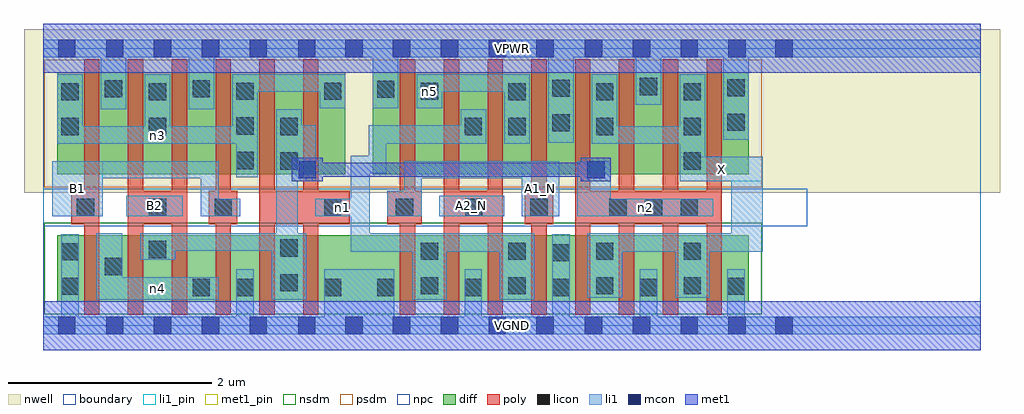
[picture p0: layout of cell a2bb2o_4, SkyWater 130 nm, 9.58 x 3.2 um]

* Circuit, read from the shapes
.subckt a2bb2o_4 A1_N A2_N B1 B2 VGND VPWR X n1 n2 n3 n4 n5
XM1 n4 B1 VGND VSUBS sky130_fd_pr__nfet_01v8 w=0.65 l=0.15 m=2
XM2 n2 B2 n4 VSUBS sky130_fd_pr__nfet_01v8 w=0.65 l=0.15 m=2
XM3 n2 n1 VGND VSUBS sky130_fd_pr__nfet_01v8 w=0.65 l=0.15 m=2
XM4 n1 A1_N VGND VSUBS sky130_fd_pr__nfet_01v8 w=0.65 l=0.15 m=2
XM5 VGND A2_N n1 VSUBS sky130_fd_pr__nfet_01v8 w=0.65 l=0.15 m=2
XM6 X n2 VGND VSUBS sky130_fd_pr__nfet_01v8 w=0.65 l=0.15 m=4
XM7 VPWR B1 n3 n6 sky130_fd_pr__pfet_01v8 w=1 l=0.15 m=2
XM8 n3 B2 VPWR n6 sky130_fd_pr__pfet_01v8 w=1 l=0.15 m=2
XM9 n2 n1 n3 n6 sky130_fd_pr__pfet_01v8 w=1 l=0.15 m=2
XM10 n5 A1_N VPWR n6 sky130_fd_pr__pfet_01v8 w=1 l=0.15 m=2
XM11 n1 A2_N n5 n6 sky130_fd_pr__pfet_01v8 w=1 l=0.15 m=2
XM12 X n2 VPWR n6 sky130_fd_pr__pfet_01v8 w=1 l=0.15 m=4
.ends

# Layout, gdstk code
import gdstk
lib = gdstk.Library(unit=1e-6, precision=1e-09)
def R(c, l, rs):  # rectangles x0, y0, x1, y1
    for r in rs: c.add(gdstk.rectangle(r[:2], r[2:], *l))
def A(c, l, x, y, w, h, nx, ny, dx, dy):  # array of equal rectangles
    R(c, l, [(x+i*dx, y+j*dy, x+i*dx+w, y+j*dy+h) for i in range(nx) for j in range(ny)])
nwell = (64, 20)
diff = (65, 20)
poly = (66, 20)
licon = (66, 44)
li1_pin = (67, 16)
li1 = (67, 20)
mcon = (67, 44)
met1_pin = (68, 16)
met1 = (68, 20)
nsdm = (93, 44)
psdm = (94, 20)
npc = (95, 20)
boundary = (235, 4)

a2bb2o_4 = lib.new_cell('a2bb2o_4')
R(a2bb2o_4, nwell, [(-0.19,1.305,9.39,2.91), (0,1.305,9.2,2.91)])
R(a2bb2o_4, diff, [(0.135,0.235,6.925,0.885), (0.135,1.485,2.965,2.485), (3.235,1.485,6.925,2.485)])
A(a2bb2o_4, poly, 0.4, 0.105, 0.15, 2.51, 6, 1, 0.43, 0)
A(a2bb2o_4, poly, 3.5, 0.105, 0.15, 2.51, 8, 1, 0.43, 0)
R(a2bb2o_4, poly, [(0.275,0.995,0.55,1.325), (0.83,0.995,1.41,1.325), (1.625,0.995,1.905,1.325), (2.12,0.995,3.005,1.325), (3.375,0.995,3.715,1.325), (3.93,0.995,4.51,1.325), (4.725,0.995,5.005,1.325), (5.22,0.995,6.66,1.325)])
A(a2bb2o_4, licon, 3.275, 0.29, 0.17, 0.17, 4, 1, 0.86, 0)
A(a2bb2o_4, licon, 3.705, 0.305, 0.17, 0.17, 4, 2, 0.86, 0.34)
A(a2bb2o_4, licon, 5.555, 1.075, 0.17, 0.17, 3, 1, 0.35, 0)
A(a2bb2o_4, licon, 1.895, 1.535, 0.17, 0.17, 1, 3, 0, 0.34)
A(a2bb2o_4, licon, 4.565, 1.87, 0.17, 0.17, 3, 2, 0.86, 0.34)
R(a2bb2o_4, licon, [(1.465,0.29,1.635,0.46), (1.895,0.29,2.065,0.46), (2.755,0.29,2.925,0.46), (0.175,0.3,0.345,0.47), (6.715,0.3,6.885,0.47), (2.325,0.335,2.495,0.505), (0.605,0.495,0.775,0.665), (4.995,0.63,5.165,0.8), (0.175,0.64,0.345,0.81), (1.035,0.66,1.205,0.83), (2.325,0.675,2.495,0.845), (0.33,1.075,0.5,1.245), (1.035,1.075,1.205,1.245), (1.68,1.075,1.85,1.245), (2.755,1.075,2.925,1.245), (3.46,1.075,3.63,1.245), (4.14,1.075,4.31,1.245), (4.78,1.075,4.95,1.245), (2.325,1.53,2.495,1.7), (6.285,1.53,6.455,1.7), (0.175,1.87,0.345,2.04), (1.035,1.87,1.205,2.04), (2.325,1.87,2.495,2.04), (4.135,1.87,4.305,2.04), (4.995,1.905,5.165,2.075), (6.715,1.91,6.885,2.08), (0.175,2.21,0.345,2.38), (1.035,2.21,1.205,2.38), (2.755,2.215,2.925,2.385), (3.705,2.215,3.875,2.385), (3.275,2.235,3.445,2.405), (0.605,2.24,0.775,2.41), (1.465,2.24,1.635,2.41), (4.995,2.245,5.165,2.415), (6.715,2.25,6.885,2.42), (5.855,2.26,6.025,2.43)])
R(a2bb2o_4, li1_pin, [(0.085,1.075,0.585,1.615), (0.815,1.075,1.37,1.275), (3.885,1.075,4.525,1.275), (4.695,1.075,5.065,1.615), (6.245,1.415,7.06,1.655)])
A(a2bb2o_4, li1, 0.135, 1.785, 0.25, 0.68, 3, 1, 0.86, 0)
R(a2bb2o_4, li1, [(0,-0.085,9.2,0.085), (0.175,-0.085,0.345,0.895), (1.895,-0.085,2.065,0.555), (2.755,-0.085,3.445,0.555), (4.135,-0.085,4.305,0.555), (4.995,-0.085,5.165,0.895), (5.855,-0.085,6.025,0.555), (6.715,-0.085,6.885,0.555), (0.52,0.255,1.72,0.475), (0.52,0.255,0.775,0.905), (2.24,0.255,2.58,0.905), (2.285,0.255,2.495,2.125), (3.62,0.255,3.96,0.905), (4.48,0.255,4.82,0.905), (5.34,0.275,5.68,0.905), (6.2,0.275,6.54,0.905), (0.95,0.645,1.295,0.905), (3.015,0.725,4.82,0.905), (3.015,0.725,3.205,1.665), (5.34,0.725,7.06,0.905), (6.75,0.725,7.06,1.655), (0.95,0.735,2.58,0.905), (0.085,1.075,0.585,1.615), (0.815,1.075,1.37,1.275), (1.545,1.075,1.935,1.245), (1.545,1.075,1.72,1.615), (2.67,1.075,3.205,1.245), (3.375,1.075,3.715,1.325), (3.54,1.075,3.715,1.615), (3.885,1.075,4.525,1.275), (4.695,1.075,5.065,1.615), (5.24,1.075,6.575,1.245), (5.24,1.075,5.57,1.615), (2.285,1.415,2.675,1.965), (2.285,1.415,2.535,2.125), (6.245,1.415,6.495,2.465), (6.245,1.415,7.06,1.655), (0.085,1.445,1.72,1.615), (3.54,1.445,5.065,1.615), (1.895,1.455,2.105,2.465), (3.195,1.495,3.365,1.965), (0.135,1.785,2.105,1.955), (3.195,1.785,4.345,1.965), (4.095,1.785,4.345,2.125), (4.525,1.785,4.775,2.465), (5.385,1.785,5.635,2.465), (5.385,1.785,6.495,1.955), (4.955,1.795,5.205,2.805), (6.675,1.825,6.925,2.805), (0.565,2.125,0.815,2.805), (1.425,2.125,1.675,2.805), (2.715,2.135,2.965,2.465), (3.235,2.135,3.485,2.805), (3.665,2.135,3.915,2.465), (5.815,2.165,6.065,2.805), (1.855,2.295,2.965,2.465), (3.665,2.295,4.775,2.465), (0,2.635,9.2,2.805)])
A(a2bb2o_4, mcon, 0.145, -0.085, 0.17, 0.17, 5, 2, 0.47, 2.72)
A(a2bb2o_4, mcon, 2.5, -0.085, 0.17, 0.17, 3, 2, 0.465, 2.72)
A(a2bb2o_4, mcon, 3.9, -0.085, 0.17, 0.17, 3, 2, 0.47, 2.72)
A(a2bb2o_4, mcon, 5.315, -0.085, 0.17, 0.17, 4, 2, 0.47, 2.72)
R(a2bb2o_4, mcon, [(7.185,-0.085,7.355,0.085), (2.505,1.445,2.675,1.615), (5.34,1.445,5.51,1.615), (7.185,2.635,7.355,2.805)])
R(a2bb2o_4, met1_pin, [(0,-0.24,9.2,0.24), (0,2.48,9.2,2.96)])
R(a2bb2o_4, met1, [(0,-0.24,9.2,0.24), (2.44,1.415,2.74,1.645), (5.275,1.415,5.57,1.645), (2.44,1.46,5.57,1.6), (0,2.48,9.2,2.96)])
R(a2bb2o_4, nsdm, [(0.01,0.11,7.05,1.01)])
R(a2bb2o_4, psdm, [(0.01,1.36,7.05,2.61)])
R(a2bb2o_4, npc, [(0,0.975,7.5,1.345)])
R(a2bb2o_4, boundary, [(0,0,9.2,2.72)])
a2bb2o_4.add(gdstk.Label('A1_N', (4.88,1.345), layer=67, texttype=5))
a2bb2o_4.add(gdstk.Label('A2_N', (4.205,1.175), layer=67, texttype=5))
a2bb2o_4.add(gdstk.Label('B1', (0.335,1.345), layer=67, texttype=5))
a2bb2o_4.add(gdstk.Label('B2', (1.092,1.175), layer=67, texttype=5))
a2bb2o_4.add(gdstk.Label('X', (6.652,1.535), layer=67, texttype=5))
a2bb2o_4.add(gdstk.Label('n4', (1.12,0.365), layer=67, texttype=5))
a2bb2o_4.add(gdstk.Label('n2', (5.907,1.16), layer=67, texttype=5))
a2bb2o_4.add(gdstk.Label('n1', (2.937,1.16), layer=67, texttype=5))
a2bb2o_4.add(gdstk.Label('n3', (1.12,1.87), layer=67, texttype=5))
a2bb2o_4.add(gdstk.Label('n5', (3.79,2.3), layer=67, texttype=5))
a2bb2o_4.add(gdstk.Label('VPWR', (4.6,2.72), layer=68, texttype=5))
a2bb2o_4.add(gdstk.Label('VGND', (4.6,0), layer=68, texttype=5))
a2bb2o_4.add(gdstk.Label('A1_N', (4.88,1.345), layer=67, texttype=16))
a2bb2o_4.add(gdstk.Label('A2_N', (4.205,1.175), layer=67, texttype=16))
a2bb2o_4.add(gdstk.Label('B1', (0.335,1.345), layer=67, texttype=16))
a2bb2o_4.add(gdstk.Label('B2', (1.092,1.175), layer=67, texttype=16))
a2bb2o_4.add(gdstk.Label('X', (6.652,1.535), layer=67, texttype=16))
a2bb2o_4.add(gdstk.Label('VPWR', (4.6,2.72), layer=68, texttype=16))
a2bb2o_4.add(gdstk.Label('VGND', (4.6,0), layer=68, texttype=16))

lib.write_gds('a2bb2o_4.gds')
